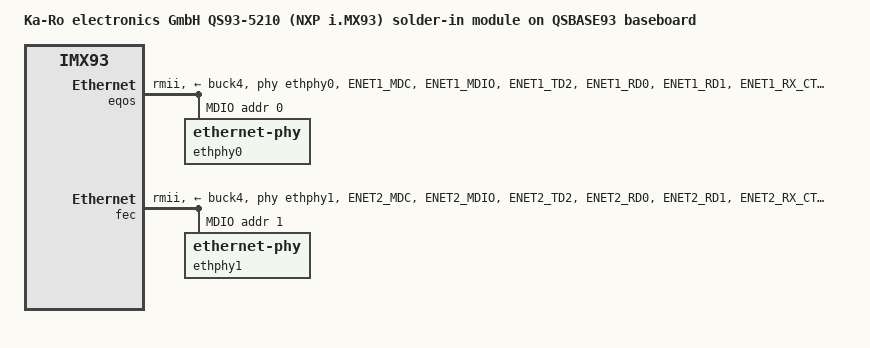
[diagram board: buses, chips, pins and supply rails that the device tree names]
// SPDX-License-Identifier: (GPL-2.0+ OR MIT)
/*
 * Copyright 2023 Lothar Waßmann <LW@KARO-electronics.de>
 */

/dts-v1/;

#include "imx93-qs93-5210.dts"

/{
	model = "Ka-Ro electronics GmbH QS93-5210 (NXP i.MX93) solder-in module on QSBASE93 baseboard";
};

&eqos {
	pinctrl-names = "default";
	pinctrl-0 = <&pinctrl_eqos_rmii &pinctrl_ethphy0_rst>;
	assigned-clock-rates = <0 50000000>;
	phy-mode = "rmii";
	phy-handle = <&ethphy0>;
	phy-supply = <&buck4>;
	phy-reset-gpios = <&gpio3 4 GPIO_ACTIVE_LOW>;
	phy-reset-duration = <25000>; /* µs */
	phy-reset-post-delay = <100>; /* µs */
	status = "okay";

	mdio {
		#address-cells = <1>;
		#size-cells = <0>;

		ethphy0: ethernet-phy@0 {
			reg = <0>;
			clocks = <&clk IMX93_CLK_ENET>;
			smsc,disable-energy-detect;
		};
	};
};

&fec {
	pinctrl-names = "default";
	pinctrl-0 = <&pinctrl_fec_rmii &pinctrl_ethphy1_rst>;
	assigned-clock-rates = <100000000>, <50000000>, <50000000>;
	phy-mode = "rmii";
	phy-handle = <&ethphy1>;
	phy-supply = <&buck4>;
	phy-reset-gpios = <&gpio4 13 GPIO_ACTIVE_LOW>;
	phy-reset-duration = <25>; /* ms */
	phy-reset-post-delay = <1>; /* ms */
	status = "okay";

	mdio {
		#address-cells = <1>;
		#size-cells = <0>;

		ethphy1: ethernet-phy@1 {
			reg = <1>;
			clocks = <&clk IMX93_CLK_ENET>;
			smsc,disable-energy-detect;
		};
	};
};

&iomuxc {
	pinctrl-names = "default";
	status = "okay";

	pinctrl_eqos_rmii: eqos-rmiigrp {
		fsl,pins = <
			MX93_PAD_ENET1_MDC__ENET_QOS_MDC			0x57e
			MX93_PAD_ENET1_MDIO__ENET_QOS_MDIO			0x17e
			MX93_PAD_ENET1_TD2__CCM_ENET_QOS_CLOCK_GENERATE_REF_CLK	0x4000017e
			/* Strap pins: HIGH: 0x3.. LOW: 0x5.. */
			/* SMSC LAN8710 Strap pins: MODE0 */
			MX93_PAD_ENET1_RD0__ENET_QOS_RGMII_RD0			0x37e
			/* MODE1 */
			MX93_PAD_ENET1_RD1__ENET_QOS_RGMII_RD1			0x37e
			/* MODE2 (external Pullup) */
			MX93_PAD_ENET1_RX_CTL__ENET_QOS_RGMII_RX_CTL		0x37e
			/* PHYAD0 */
			MX93_PAD_ENET1_RXC__ENET_QOS_RX_ER			0x57e

			MX93_PAD_ENET1_TD0__ENET_QOS_RGMII_TD0			0x57e
			MX93_PAD_ENET1_TD1__ENET_QOS_RGMII_TD1			0x57e
			MX93_PAD_ENET1_TX_CTL__ENET_QOS_RGMII_TX_CTL		0x57e
		>;
	};

	pinctrl_ethphy0_rst: ethphy0-rstgrp {
		fsl,pins = <
			MX93_PAD_SD2_DATA1__GPIO3_IO04				0x4000017e
		>;
	};

	pinctrl_ethphy1_rst: ethphy1-rstgrp {
		fsl,pins = <
			MX93_PAD_ENET1_RD3__GPIO4_IO13				0x4000017e
		>;
	};

	pinctrl_fec_rmii: fec-rmiigrp {
		fsl,pins = <
			MX93_PAD_ENET2_MDC__ENET1_MDC				0x57e
			MX93_PAD_ENET2_MDIO__ENET1_MDIO				0x17e
			MX93_PAD_ENET2_TD2__ENET1_TX_CLK			0x4000017e
			/* SMSC LAN8710 Strap pins: MODE0 */
			MX93_PAD_ENET2_RD0__ENET1_RGMII_RD0			0x37e
			/* MODE1 */
			MX93_PAD_ENET2_RD1__ENET1_RGMII_RD1			0x37e
			/* MODE2 (external Pullup) */
			MX93_PAD_ENET2_RX_CTL__ENET1_RGMII_RX_CTL		0x37e
			/* PHYAD0 */
			MX93_PAD_ENET2_RXC__ENET1_RX_ER				0x3fe

			MX93_PAD_ENET2_TD0__ENET1_RGMII_TD0			0x57e
			MX93_PAD_ENET2_TD1__ENET1_RGMII_TD1			0x57e
			MX93_PAD_ENET2_TX_CTL__ENET1_RGMII_TX_CTL		0x57e
		>;
	};
};
